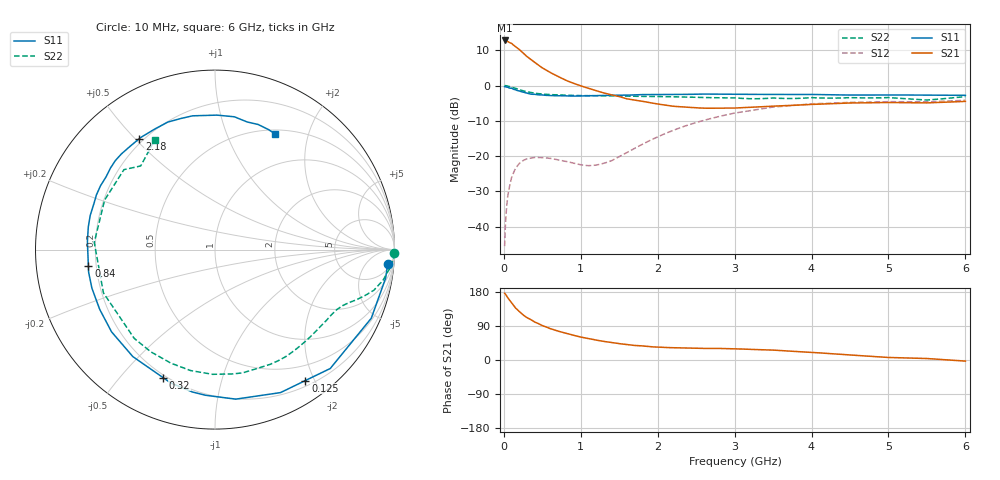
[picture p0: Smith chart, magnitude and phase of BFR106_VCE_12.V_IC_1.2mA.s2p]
! Infineon Technologies  Discrete & RF Semiconductors
! BFR106
! VCE =  12. V,  IC =  1.2 mA
! Common Emitter S-Parameters:  Nov 2015
# GHz  S  MA  R  50
!  f  S11  S21  S12  S22
! GHz  MAG  ANG  MAG  ANG  MAG  ANG  MAG  ANG
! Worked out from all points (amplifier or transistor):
!   210 points, 10 MHz to 6 GHz, reference 50 ohm
!   highest |S21| = 12.8 dB at 10 MHz (marker M1)
!   |S21| within 3 dB of that: start of sweep to 222.3 MHz
!   unconditionally stable (mu >= 1): 841.6 MHz to 1.802 GHz; 3.258 GHz to end of sweep
!   at 185 MHz: K = 0.21, MSG = 16.5 dB, |S12| = -22.5 dB
!   at 1.52 GHz: K = 1.23, MAG = 5.5 dB, |S12| = -19.9 dB
!   at 6 GHz: K = 1.02, MAG = -1.0 dB, |S12| = -4.2 dB
!   S11 on the Smith chart (normalised r, x): 10 MHz: 8, -20; 125 MHz: 0.27, -1.87; 320 MHz: 0.19, -0.66; 840 MHz: 0.17, -0.06; 2.18 GHz: 0.18, +0.51; 6 GHz: 0.55, +1.50
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0.01  0.9657 -4.9  4.352 176.2  0.0053 90.0  0.9999 -1.1
0.025  0.9576 -11.9  4.286 172.4  0.0129 81.1  0.9953 -2.8
0.05  0.951 -23.7  4.21 164.2  0.0265 76.6  0.9838 -5.5
0.1  0.9226 -45.9  3.959 151.0  0.0494 65.0  0.9514 -10.4
0.125  0.8865 -55.4  3.743 144.7  0.0578 59.0  0.9322 -12.3
0.15  0.8763 -65.4  3.578 137.7  0.0666 54.5  0.914 -14.3
0.2  0.8411 -82.1  3.245 128.1  0.0785 46.9  0.8759 -16.9
0.26  0.8033 -99.0  2.833 117.5  0.0877 38.9  0.8366 -19.5
0.32  0.7697 -112.1  2.483 109.9  0.0923 34.0  0.8088 -21.2
0.4  0.7517 -127.5  2.129 100.3  0.0959 28.3  0.7787 -23.5
0.5  0.7363 -141.5  1.779 90.8  0.0956 23.8  0.7574 -26.1
0.7  0.7187 -162.6  1.352 76.3  0.089 21.8  0.7368 -31.9
0.84  0.7114 -172.8  1.147 68.7  0.0827 24.7  0.7271 -36.2
1.02  0.7124 175.1  0.974 59.7  0.0749 33.6  0.72 -42.2
1.4  0.7276 155.3  0.736 46.0  0.0861 64.4  0.7149 -56.3
2.02  0.7449 129.9  0.543 33.8  0.1915 79.3  0.6985 -82.7
2.18  0.7484 124.3  0.513 32.5  0.227 77.7  0.6947 -90.2
3.1  0.7525 97.5  0.486 28.9  0.4232 56.3  0.657 -137.5
3.5  0.7493 89.2  0.51 26.1  0.4958 46.0  0.6667 -158.8
4.1  0.7443 80.5  0.545 18.8  0.5552 30.7  0.6669 172.5
5.1  0.7359 70.0  0.573 6.1  0.5901 11.7  0.664 137.4
6  0.7265 62.7  0.596 -2.9  0.6188 -0.3  0.6971 118.8
